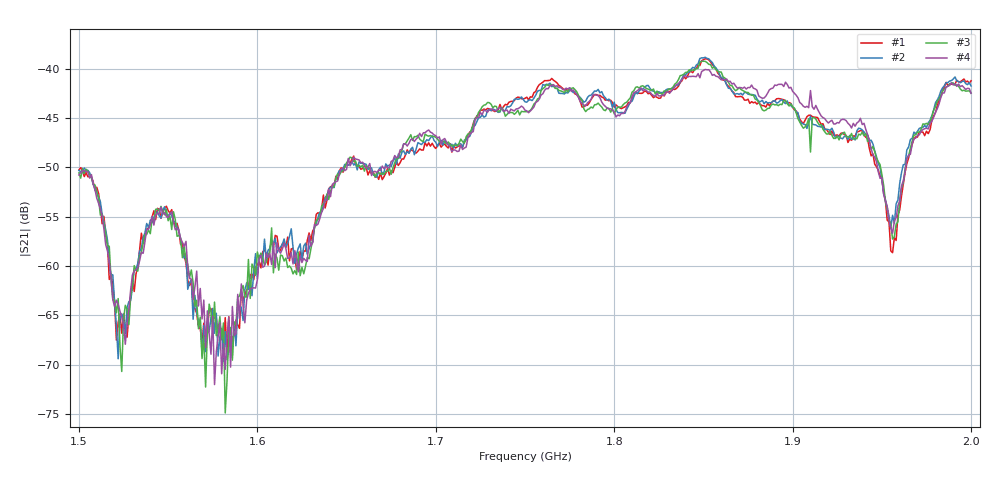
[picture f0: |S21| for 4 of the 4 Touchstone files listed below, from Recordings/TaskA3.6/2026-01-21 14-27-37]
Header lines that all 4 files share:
! NanoVNA-App by SYSJOINT et al v1.1.209 (+OD18)
! Start: 1,5GHz Stop: 2GHz Points: 501
! S-Parameter data: F S11 S21 S12 S22
# Hz S RI R 50
!  Frequency  S11_Real  S11_Imag  S21_Real  S21_Imag  S12_Real  S12_Imag  S22_Real  S22_Imag
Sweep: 1.5 GHz to 2 GHz
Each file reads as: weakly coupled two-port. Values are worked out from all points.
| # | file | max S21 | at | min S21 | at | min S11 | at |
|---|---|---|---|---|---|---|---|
| 1 | 0.s2p | -39.00 dB | 1.851 GHz | -68.8 dB | 1.585 GHz | -30.9 dB | 1.817 GHz |
| 2 | 1.s2p | -38.85 dB | 1.851 GHz | -69.7 dB | 1.581 GHz | -31.0 dB | 1.816 GHz |
| 3 | 2.s2p | -39.25 dB | 1.85 GHz | -74.9 dB | 1.582 GHz | -31.2 dB | 1.816 GHz |
| 4 | 3.s2p | -40.08 dB | 1.851 GHz | -72.0 dB | 1.576 GHz | -30.8 dB | 1.817 GHz |
